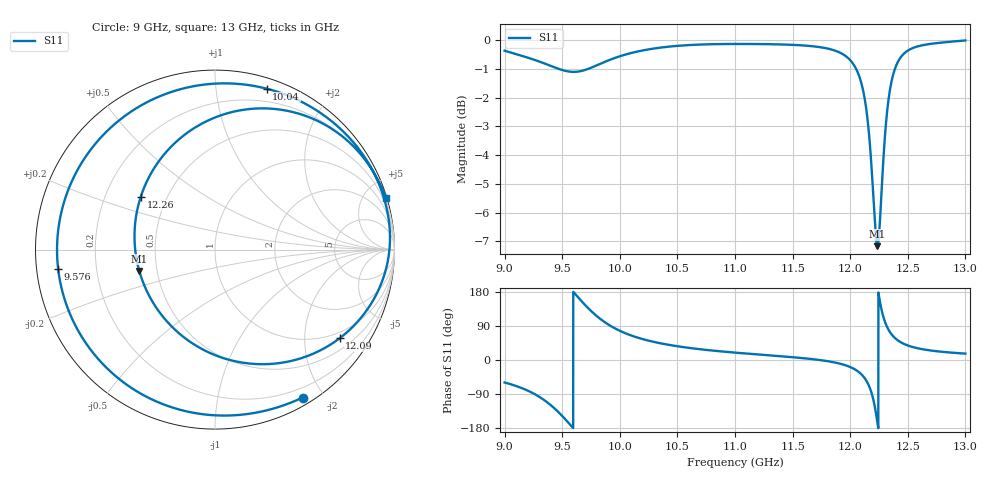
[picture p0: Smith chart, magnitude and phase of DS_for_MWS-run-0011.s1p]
! TOUCHSTONE file generated by CST DESIGN STUDIO
! Date and time: Tue Feb  4 14:34:15 2025
! Project name: C:\Work\MatlabApps\UnitCellOptimizationMatlab\CST\unitcell.cst
! Tree item: Tasks\Sweep1\SPara1\S-Parameters
! Header version: 2024
! Port assignment regex: !\s*Touchstone port\s*([0-9]+)\s*=\s*(CST MWS port|CST DES external port|CST DES block port)\s*(.+)\s* \(\"(.*)\"\)(\s*mode\s*([0-9]+))?.*
! Touchstone port assignment:
! Touchstone port 1 = CST DES external port 1 ("")
# GHz S MA R 50
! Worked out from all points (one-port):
!   4001 points, 9 GHz to 13 GHz, reference 50 ohm
!   lowest |S11| = -7.2 dB at 12.24 GHz (marker M1), VSWR 2.56, Z = 19.8 - j5.87 ohm
!   |S11| at or under -10 dB: nowhere
!   S11 on the Smith chart (normalised r, x): 9 GHz: 0.09, -1.75; 9.576 GHz: 0.06, -0.06; 10.04 GHz: 0.09, +1.37; 12.09 GHz: 0.81, -2.93; 12.26 GHz: 0.36, +0.28; 13 GHz: 0.04, +6.75
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9  0.9581 -59.3
9.166  0.9364 -76.2
9.316  0.9151 -100.1
9.412  0.8998 -122.1
9.5  0.8868 -147.7
9.576  0.8805 -173.1
9.664  0.8831 156.5
9.777  0.8994 122.0
9.875  0.9171 98.6
10  0.9369 77.1
10.036  0.9418 72.2
10.237  0.9622 52.0
10.5  0.9767 36.3
11  0.9842 19.5
11.5  0.9807 7.4
11.809  0.9658 -3.4
12  0.9226 -18.6
12.089  0.8522 -35.4
12.135  0.7697 -52.1
12.178  0.6315 -79.9
12.206  0.5125 -111.5
12.236  0.4383 -164.2
12.264  0.5077 144.6
12.298  0.6657 104.0
12.335  0.7943 78.6
12.405  0.9083 53.8
12.5  0.9583 38.3
13  0.9981 16.9
